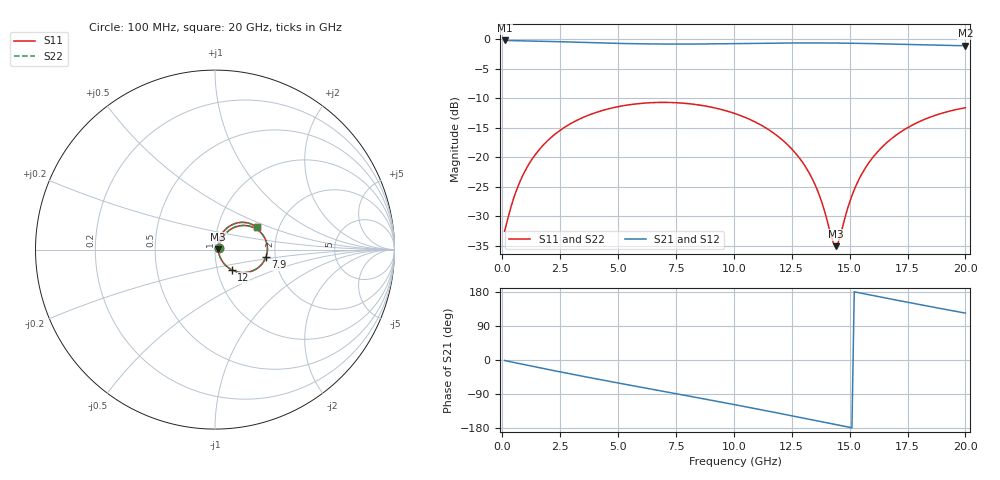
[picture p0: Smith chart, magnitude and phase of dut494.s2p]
! Touchstone file exported from HFSS 2026.1.0
!  File:  C:/ffzhzh/LocalFiles/Ansys_Project_Files/temp_train_TSV_RDL_494_1783106215_53076.aedt
!  Generated:  03:27:21 AM Jul  4, 2026
!  Design:  TSV_RDL
!  Project:  temp_train_TSV_RDL_494_1783106215_53076
! Variables:
!  h_bsmrdl = 5.58um
!  h_ox = 20um
!  h_rdl = 5um
!  h_sub = 87.21um
!  h_tmrdl = 5.01um
!  h_tsv = 87.21um
!  h_via = 3um
!  l_bsmrdl = 559.38um
!  l_sub = 3844.29um
!  l_tmrdl = 424.49um
!  m_sub = 200um
!  pitch = 22.16um
!  r_tsv = 6.26um
!  s_tmrdl = 10um
!  w_bsmrdl = 11.75um
!  w_sub = 500um
!  w_tmrdl = 10.98um
!  x_tsv_center1 = 429.98um
!  x_tsv_center2 = 1001.11um
!  x_tsv_center3 = 1436.58um
!  x_tsv_center4 = 2007.71um
!  x_tsv_center5 = 2443.18um
!  x_tsv_center6 = 3014.31um
# GHz S MA R 50.000000
! Terminal data exported
! Port[1] = TM_RDL1_1_T1
! Port[2] = TM_RDL5_1_T1
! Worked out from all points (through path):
!   200 points, 100 MHz to 20 GHz, reference 50 ohm
!   highest |S21| = -0.19 dB at 100 MHz (marker M1); lowest = -1.1 dB at 20 GHz (marker M2)
!   group delay of S21, straight-line fit = 32.6 ps
!   lowest |S11| = -35.0 dB at 14.4 GHz (marker M3), VSWR 1.04, Z = 51.8 + j0.163 ohm
!   |S11| at or under -10 dB: start of sweep to end of sweep
!   |S22| runs from -35.0 to -10.7 dB; largest |S21 - S12| = 3.7e-14
!   S11 on the Smith chart (normalised r, x): 100 MHz: 1.05, +0.02; 7.9 GHz: 1.78, -0.17; 12 GHz: 1.17, -0.27; 20 GHz: 1.54, +0.41
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0.1  0.02368 19.7  0.9779 -1.3  0.9779 -1.3  0.02368 19.7
! Gamma 0 0 0 0
! Port Impedance 50 0 50 0
0.6  0.05187 53.2  0.9738 -7.8  0.9738 -7.8  0.05187 53.2
1.3  0.09744 57.0  0.9679 -16.6  0.9679 -16.6  0.09744 57.0
2.3  0.1585 49.9  0.9563 -28.9  0.9563 -28.9  0.1585 49.9
3.5  0.2184 37.8  0.9405 -43.3  0.9405 -43.3  0.2184 37.8
5.1  0.2711 20.8  0.9225 -61.8  0.9225 -61.8  0.2711 20.8
6.8  0.2921 2.9  0.9124 -81.0  0.9124 -81.0  0.2921 2.9
7.9  0.2867 -8.6  0.9115 -93.4  0.9115 -93.4  0.2867 -8.6
10.1  0.2331 -31.7  0.9197 -118.6  0.9197 -118.6  0.2331 -31.7
12  0.1457 -50.5  0.9292 -141.1  0.9292 -141.1  0.1457 -50.5
12.8  0.1006 -56.6  0.9315 -150.8  0.9315 -150.8  0.1006 -56.6
13.4  0.06505 -57.9  0.9319 -158.1  0.9319 -158.1  0.06505 -58.0
13.8  0.04162 -53.2  0.9315 -163.0  0.9315 -163.0  0.04161 -53.2
14.3  0.01874 -13.4  0.9302 -169.1  0.9302 -169.1  0.01873 -13.4
14.4  0.0177 5.1  0.9298 -170.3  0.9298 -170.3  0.01768 5.1
14.5  0.01883 23.5  0.9294 -171.6  0.9294 -171.6  0.01882 23.5
15  0.04172 62.6  0.9268 -177.7  0.9268 -177.7  0.04172 62.5
15.4  0.06487 67.2  0.9242 177.5  0.9242 177.5  0.06488 67.2
16  0.09972 65.9  0.9195 170.2  0.9195 170.2  0.09973 65.9
16.7  0.1383 60.8  0.913 161.9  0.913 161.9  0.1383 60.8
18.2  0.2085 46.6  0.8977 144.2  0.8977 144.2  0.2085 46.5
20  0.2631 28.3  0.8824 123.7  0.8824 123.7  0.2632 28.3
